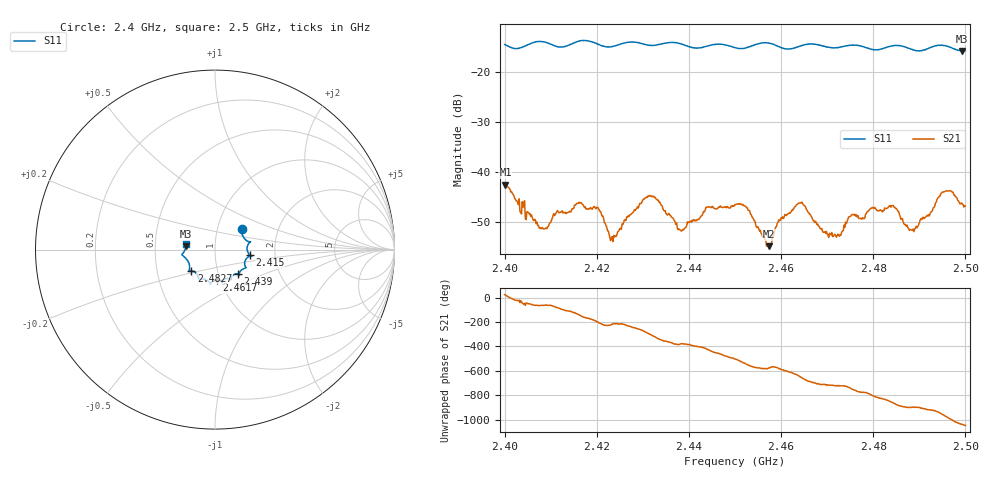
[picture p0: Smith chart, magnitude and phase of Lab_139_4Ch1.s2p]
# Hz S RI R 50
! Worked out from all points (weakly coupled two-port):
!   601 points, 2.4 GHz to 2.5 GHz, reference 50 ohm
!   highest |S21| = -42.50 dB at 2.4002 GHz (marker M1); lowest = -54.8 dB at 2.4573 GHz (marker M2)
!   lowest |S11| = -15.7 dB at 2.4993 GHz (marker M3), VSWR 1.39, Z = 36 + j1.42 ohm
!   |S11| at or under -10 dB: start of sweep to end of sweep
!   S12 and S22 are empty: the file has one direction only
!   S11 on the Smith chart (normalised r, x): 2.4 GHz: 1.31, +0.31; 2.415 GHz: 1.48, -0.10; 2.439 GHz: 1.24, -0.35; 2.4617 GHz: 0.96, -0.34; 2.4827 GHz: 0.75, -0.18; 2.5 GHz: 0.72, +0.05
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2.4e9  0.1508 0.1146  0.00669 0.0032  0 0  0 0
2.400167e9  0.1504 0.1124  0.00701 0.00268  0 0  0 0
2.408e9  0.1985 0.0437  0.0012 -0.00245  0 0  0 0
2.415e9  0.1938 -0.0316  -0.0022 -0.00373  0 0  0 0
2.416667e9  0.2038 -0.0384  -0.00432 -0.00236  0 0  0 0
2.4205e9  0.1843 -0.0415  -0.00374 0.00195  0 0  0 0
2.423333e9  0.1651 -0.0729  -0.00183 0.00133  0 0  0 0
2.4305e9  0.1552 -0.1085  0.000981 0.00544  0 0  0 0
2.433333e9  0.1358 -0.1311  0.00481 0.00209  0 0  0 0
2.439e9  0.1285 -0.1362  0.00256 -0.000911  0 0  0 0
2.45e9  0.072 -0.161  -0.00386 -0.00278  0 0  0 0
2.457333e9  0.045 -0.1909  -0.00145 0.00109  0 0  0 0
2.461667e9  0.00851 -0.1705  -0.00146 0.00356  0 0  0 0
2.466667e9  -0.027 -0.1902  0.0032 0.0015  0 0  0 0
2.4725e9  -0.066 -0.1642  0.00234 -0.000165  0 0  0 0
2.475167e9  -0.0864 -0.1653  0.0033 -0.00155  0 0  0 0
2.482667e9  -0.1315 -0.1172  -0.00189 -0.00388  0 0  0 0
2.483333e9  -0.1372 -0.1168  -0.00267 -0.00364  0 0  0 0
2.488333e9  -0.1412 -0.0932  -0.00264 -4.28e-05  0 0  0 0
2.495333e9  -0.1831 -0.0261  -0.00272 0.00577  0 0  0 0
2.499333e9  -0.1623 0.0191  0.00363 0.00312  0 0  0 0
2.5e9  -0.1618 0.0311  0.00389 0.00241  0 0  0 0
